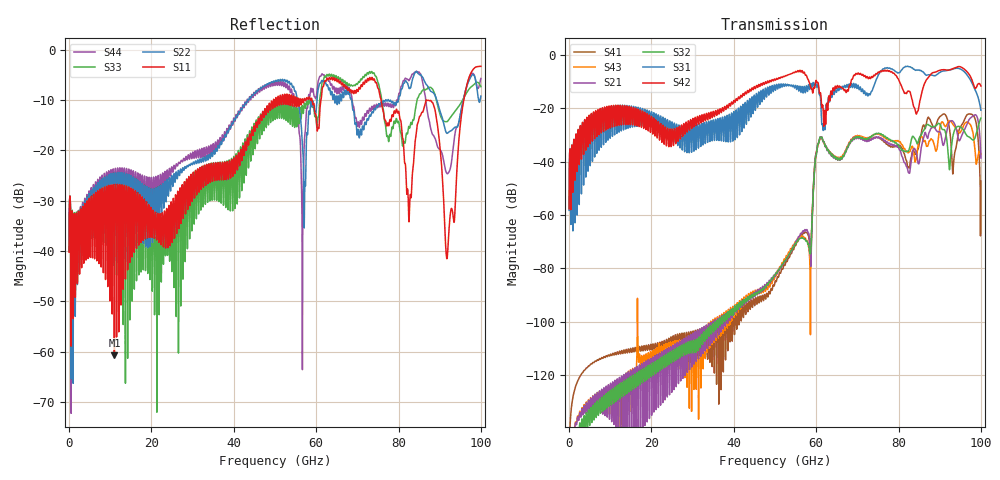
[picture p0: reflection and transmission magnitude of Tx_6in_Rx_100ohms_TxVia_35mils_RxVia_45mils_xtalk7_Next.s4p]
! Info: Touchstone file created by Circ.  Input file=Tx_6in_Rx_100ohms_TxVia_35mils_RxVia_45mils.circ
# Hz S RI R 50
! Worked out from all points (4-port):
!   10000 points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, 10 MHz to 100 GHz, reference 50 ohm
!   strongest paths, dB at 10 MHz, 25.01 GHz, 50.01 GHz, 75.01 GHz, 100 GHz:
!     S42: -57.7, -28.0, -9.3, -6.6, -11.7
!     S31: -58.3, -25.2, -12.6, -7.8, -20.7
!     S32: -179.7, -111.5, -82.5, -29.5, -23.7
!     S21: -175.2, -115.5, -83.0, -30.9, -38.6
!     S43: -174.9, -110.4, -82.5, -29.6, -37.1
!     S41: -162.0, -111.8, -84.9, -31.0, -47.3
!   lowest |S11| = -60.8 dB at 11 GHz (marker M1), VSWR 1.00, Z = 49.9 - j0.0347 ohm
!   |S11| at or under -10 dB: start of sweep to 49.64 GHz; 58.99 GHz to 61.2 GHz (2.208 GHz wide, 3.67 % of centre); 75.77 GHz to 95.85 GHz (20.08 GHz wide, 23.4 % of centre)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
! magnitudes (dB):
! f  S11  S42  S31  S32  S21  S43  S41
! 10 MHz  -40.3  -57.7  -58.3  -179.7  -175.2  -174.9  -162.0
! 11 GHz  -60.8  -24.5  -26.4  -125.7  -126.0  -127.6  -112.2
! 58.33 GHz  -9.4  -10.4  -12.4  -72.9  -68.0  -73.7  -69.7
! 60.89 GHz  -12.1  -14.5  -14.8  -31.0  -30.9  -31.3  -31.3
! 73.36 GHz  -5.9  -8.3  -13.9  -30.8  -32.0  -30.5  -31.6
! 91.77 GHz  -41.6  -5.8  -5.9  -32.4  -28.1  -26.0  -23.7
! 100 GHz  -3.3  -11.7  -20.7  -23.7  -38.6  -37.1  -47.3
